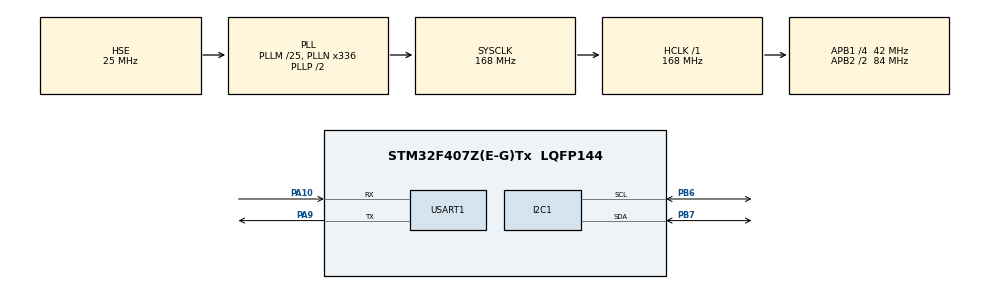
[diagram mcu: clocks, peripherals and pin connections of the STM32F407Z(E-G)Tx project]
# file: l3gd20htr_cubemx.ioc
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Mcu.Family=STM32F4
Mcu.Name=STM32F407Z(E-G)Tx
Mcu.Package=LQFP144
NVIC.PriorityGroup=NVIC_PRIORITYGROUP_4
PA10.Mode=Asynchronous
PA10.Signal=USART1_RX
PA9.Mode=Asynchronous
PA9.Signal=USART1_TX
PB6.Mode=I2C
PB6.Signal=I2C1_SCL
PB7.Mode=I2C
PB7.Signal=I2C1_SDA
PH0-OSC_IN.Mode=HSE-External-Oscillator
PH0-OSC_IN.Signal=RCC_OSC_IN
PH1-OSC_OUT.Mode=HSE-External-Oscillator
PH1-OSC_OUT.Signal=RCC_OSC_OUT
ProjectManager.HeapSize=0x200
ProjectManager.StackSize=0x400
ProjectManager.TargetToolchain=STM32CubeIDE
RCC.48MHZClocksFreq_Value=84000000
RCC.AHBFreq_Value=168000000
RCC.APB1CLKDivider=RCC_HCLK_DIV4
RCC.APB1Freq_Value=42000000
RCC.APB1TimFreq_Value=84000000
RCC.APB2CLKDivider=RCC_HCLK_DIV2
RCC.APB2Freq_Value=84000000
RCC.APB2TimFreq_Value=168000000
RCC.CortexFreq_Value=168000000
RCC.HCLKFreq_Value=168000000
RCC.HSE_VALUE=25000000
RCC.HSI_VALUE=16000000
RCC.LSE_VALUE=32768
RCC.PLLM=25
RCC.PLLN=336
RCC.PLLSourceVirtual=RCC_PLLSOURCE_HSE
RCC.SYSCLKFreq_VALUE=168000000
RCC.SYSCLKSource=RCC_SYSCLKSOURCE_PLLCLK
RCC.VCOOutputFreq_Value=336000000
USART1.VirtualMode=VM_ASYNC
board=custom

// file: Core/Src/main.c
/* USER CODE BEGIN Header */
/**
  ******************************************************************************
  * @file           : main.c
  * @brief          : Main program body
  ******************************************************************************
  * @attention
  *
  * Copyright (c) 2026 STMicroelectronics.
  * All rights reserved.
  *
  * This software is licensed under terms that can be found in the LICENSE file
  * in the root directory of this software component.
  * If no LICENSE file comes with this software, it is provided AS-IS.
  *
  ******************************************************************************
  */
/* USER CODE END Header */
#include "main.h"

/* USER CODE BEGIN Includes */
#include <stdio.h>
/* USER CODE END Includes */

/* USER CODE BEGIN PD */

#define GYRO_SLAVE_ADDRESS 0xD6

#define WHO_AM_I		0x0F
#define CTRL_REG1		0x20
#define CTRL_REG2		0x21
#define CTRL_REG3		0x22
#define CTRL_REG4		0x23
#define CTRL_REG5		0x24
#define HP_FILTER_RESET	0x25
#define STATUS_REG		0x27
#define OUT_X_L			0x28
#define OUT_X_H			0x29
#define OUT_Y_L			0x2A
#define OUT_Y_H			0x2B
#define OUT_Z_L			0x2C
#define OUT_Z_H			0x2D
#define INT1_CFG		0x30
#define INT1_SOURCE		0x31
#define INT1_THS		0x32
#define INT1_DURATION	0x33
#define INT2_CFG		0x34
#define INT2_SOURCE		0x35
#define INT2_THS		0x36
#define INT2_DURATION	0x37
/* USER CODE END PD */

I2C_HandleTypeDef hi2c1;

UART_HandleTypeDef huart1;

void SystemClock_Config(void);
static void MX_GPIO_Init(void);
static void MX_I2C1_Init(void);
static void MX_USART1_UART_Init(void);

/* USER CODE BEGIN 0 */
#define hUART           huart1
int _write( int32_t file , uint8_t *ptr , int32_t len )
{
    /* Implement your write code here, this is used by puts and printf for example */
    for ( int16_t i = 0 ; i < len ; ++i )
    {
        HAL_UART_Transmit( &hUART, ptr++, 1, 100);
    }
    return len;
}

static uint8_t Read_1_Byte(uint8_t address)
{
    uint8_t Buffer_Tx;
    uint8_t Buffer_Rx;
	HAL_StatusTypeDef  i2cRW_status;

    Buffer_Tx = address;

    i2cRW_status = HAL_I2C_Master_Transmit(&hi2c1, GYRO_SLAVE_ADDRESS, &Buffer_Tx, 1, 1000);
    if(HAL_OK != i2cRW_status)
    {
    	printf("Write error:%d\r\n", i2cRW_status);
        return 0;
    }

    i2cRW_status = HAL_I2C_Master_Receive(&hi2c1, GYRO_SLAVE_ADDRESS, &Buffer_Rx, 1, 1000);
    if(HAL_OK != i2cRW_status)
    {
    	printf("Read error:%d\r\n", i2cRW_status);
        return 0;
    }

    return Buffer_Rx;
}

static uint8_t Get_ChipID(void)
{
    return Read_1_Byte(WHO_AM_I);
}

static void Write_1_Byte(uint8_t address, uint8_t data)
{
    uint8_t Buffer_Tx[2];
	HAL_StatusTypeDef  i2cRW_status;

    Buffer_Tx[0] = address;
    Buffer_Tx[1] = data;

    i2cRW_status = HAL_I2C_Master_Transmit(&hi2c1, GYRO_SLAVE_ADDRESS, Buffer_Tx, 2, 1000);
    if(HAL_OK != i2cRW_status)
    {
    	printf("Write error:%d\r\n", i2cRW_status);
    }
}

/*
 * Description : none.
 * Argument(s) : none.
 * Return(s)   : none.
 * Note(s)     : none.
 */
static void GYRO_L3G4200_vInit (void)
{
    // Enable x, y, z and turn off power down:
    Write_1_Byte(CTRL_REG1, 0x0F);

    // If you'd like to adjust/use the HPF, you can edit the line below to configure CTRL_REG2:
    Write_1_Byte(CTRL_REG2, 0x0);

    // Configure CTRL_REG3 to generate data ready interrupt on INT2
    // No interrupts used on INT1, if you'd like to configure INT1
    // or INT2 otherwise, consult the datasheet:
    Write_1_Byte(CTRL_REG3, 0x08);

    // CTRL_REG5 controls high-pass filtering of outputs, use it
    // if you'd like:
    Write_1_Byte(CTRL_REG5, 0x0);
}
/* USER CODE END 0 */

int main(void)
{

  /* USER CODE BEGIN 1 */
    uint8_t u8X_H, u8X_L, u8Y_H, u8Y_L, u8Z_H, u8Z_L;
    int16_t raw_x, raw_y, raw_z;
    float gx, gy, gz;
  /* USER CODE END 1 */

  /* MCU Configuration--------------------------------------------------------*/

  /* Reset of all peripherals, Initializes the Flash interface and the Systick. */
  HAL_Init();

  /* Configure the system clock */
  SystemClock_Config();

  /* Initialize all configured peripherals */
  MX_GPIO_Init();
  MX_I2C1_Init();
  MX_USART1_UART_Init();
  /* USER CODE BEGIN 2 */
  printf("I2C-L3GD20HTR test\r\n");

  GYRO_L3G4200_vInit();
  HAL_Delay(100);
  printf("Get_ChipID: 0x%X\r\n", Get_ChipID());
  /* USER CODE END 2 */

  /* Infinite loop */
  /* USER CODE BEGIN WHILE */
  while (1)
  {
	  HAL_Delay(1000);

	  // ROLL
	u8X_H = Read_1_Byte(OUT_X_H);
	u8X_L = Read_1_Byte(OUT_X_L);

	// PITCH
	u8Y_H = Read_1_Byte(OUT_Y_H);
	u8Y_L = Read_1_Byte(OUT_Y_L);

	// YAW
	u8Z_H = Read_1_Byte(OUT_Z_H);
	u8Z_L = Read_1_Byte(OUT_Z_L);

	raw_x = (int16_t)(u8X_H << 8 | u8X_L);
	raw_y = (int16_t)(u8Y_H << 8 | u8Y_L);
	raw_z = (int16_t)(u8Z_H << 8 | u8Z_L);

	float sens = 8.75f;

	gx = raw_x * sens / 1000.0f;
	gy = raw_y * sens / 1000.0f;
	gz = raw_z * sens / 1000.0f;
	printf ("X: %f, Y: %f, Z: %f\r\n", gx, gy, gz);
	  /* USER CODE END WHILE */

  }
}

void SystemClock_Config(void)
{
  RCC_OscInitTypeDef RCC_OscInitStruct = {0};
  RCC_ClkInitTypeDef RCC_ClkInitStruct = {0};

  /** Configure the main internal regulator output voltage
  */
  __HAL_RCC_PWR_CLK_ENABLE();
  __HAL_PWR_VOLTAGESCALING_CONFIG(PWR_REGULATOR_VOLTAGE_SCALE1);

  /** Initializes the RCC Oscillators according to the specified parameters
  * in the RCC_OscInitTypeDef structure.
  */
  RCC_OscInitStruct.OscillatorType = RCC_OSCILLATORTYPE_HSE;
  RCC_OscInitStruct.HSEState = RCC_HSE_ON;
  RCC_OscInitStruct.PLL.PLLState = RCC_PLL_ON;
  RCC_OscInitStruct.PLL.PLLSource = RCC_PLLSOURCE_HSE;
  RCC_OscInitStruct.PLL.PLLM = 25;
  RCC_OscInitStruct.PLL.PLLN = 336;
  RCC_OscInitStruct.PLL.PLLP = RCC_PLLP_DIV2;
  RCC_OscInitStruct.PLL.PLLQ = 4;
  if (HAL_RCC_OscConfig(&RCC_OscInitStruct) != HAL_OK)
  {
    Error_Handler();
  }

  /** Initializes the CPU, AHB and APB buses clocks
  */
  RCC_ClkInitStruct.ClockType = RCC_CLOCKTYPE_HCLK|RCC_CLOCKTYPE_SYSCLK
                              |RCC_CLOCKTYPE_PCLK1|RCC_CLOCKTYPE_PCLK2;
  RCC_ClkInitStruct.SYSCLKSource = RCC_SYSCLKSOURCE_PLLCLK;
  RCC_ClkInitStruct.AHBCLKDivider = RCC_SYSCLK_DIV1;
  RCC_ClkInitStruct.APB1CLKDivider = RCC_HCLK_DIV4;
  RCC_ClkInitStruct.APB2CLKDivider = RCC_HCLK_DIV2;

  if (HAL_RCC_ClockConfig(&RCC_ClkInitStruct, FLASH_LATENCY_5) != HAL_OK)
  {
    Error_Handler();
  }
}

static void MX_I2C1_Init(void)
{

  hi2c1.Instance = I2C1;
  hi2c1.Init.ClockSpeed = 100000;
  hi2c1.Init.DutyCycle = I2C_DUTYCYCLE_2;
  hi2c1.Init.OwnAddress1 = 0;
  hi2c1.Init.AddressingMode = I2C_ADDRESSINGMODE_7BIT;
  hi2c1.Init.DualAddressMode = I2C_DUALADDRESS_DISABLE;
  hi2c1.Init.OwnAddress2 = 0;
  hi2c1.Init.GeneralCallMode = I2C_GENERALCALL_DISABLE;
  hi2c1.Init.NoStretchMode = I2C_NOSTRETCH_DISABLE;
  if (HAL_I2C_Init(&hi2c1) != HAL_OK)
  {
    Error_Handler();
  }

}

static void MX_USART1_UART_Init(void)
{

  huart1.Instance = USART1;
  huart1.Init.BaudRate = 115200;
  huart1.Init.WordLength = UART_WORDLENGTH_8B;
  huart1.Init.StopBits = UART_STOPBITS_1;
  huart1.Init.Parity = UART_PARITY_NONE;
  huart1.Init.Mode = UART_MODE_TX_RX;
  huart1.Init.HwFlowCtl = UART_HWCONTROL_NONE;
  huart1.Init.OverSampling = UART_OVERSAMPLING_16;
  if (HAL_UART_Init(&huart1) != HAL_OK)
  {
    Error_Handler();
  }

}

static void MX_GPIO_Init(void)
{

  /* GPIO Ports Clock Enable */
  __HAL_RCC_GPIOH_CLK_ENABLE();
  __HAL_RCC_GPIOA_CLK_ENABLE();
  __HAL_RCC_GPIOB_CLK_ENABLE();

}

void Error_Handler(void)
{
  __disable_irq();
  while (1)
  {
  }
}
